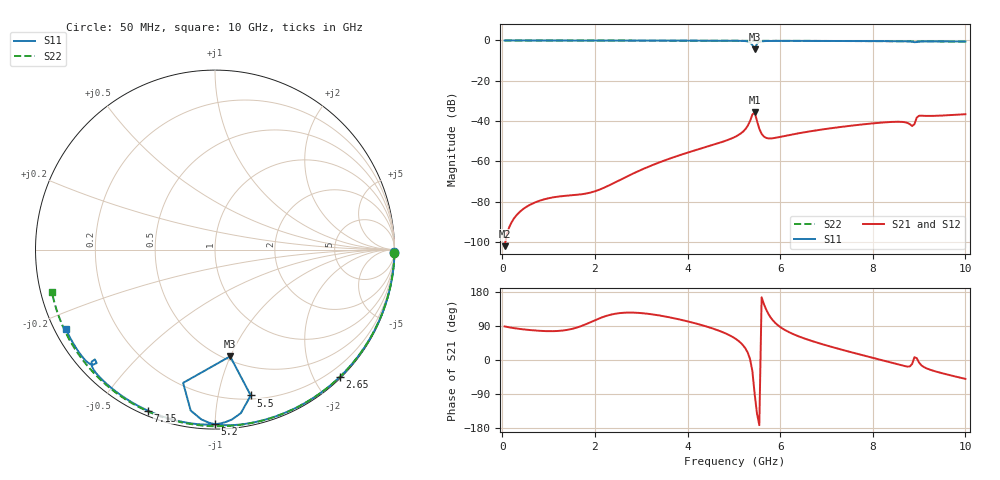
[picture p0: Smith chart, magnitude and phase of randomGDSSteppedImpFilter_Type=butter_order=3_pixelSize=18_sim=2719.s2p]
! freq	dB(S11)	phase(S11)	dB(S12)	phase(S12)
!  dB(S21)	phase(S21)	dB(S22)	phase(S22)
!S-par simulation data
#  GHz  S  DB  R 50
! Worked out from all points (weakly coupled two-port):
!   200 points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, 50 MHz to 10 GHz, reference 50 ohm
!   highest |S21| = -35.71 dB at 5.45 GHz (marker M1); lowest = -102.2 dB at 50 MHz (marker M2)
!   lowest |S11| = -4.4 dB at 5.45 GHz (marker M3), VSWR 4.01, Z = 26.8 - j49.9 ohm
!   |S11| at or under -10 dB: nowhere
!   |S22| runs from -0.5 to 0.0 dB; largest |S21 - S12| = 0
!   S11 on the Smith chart (normalised r, x): 50 MHz: open; 2.65 GHz: 0.02, -2.38; 5.2 GHz: 0.03, -1.00; 5.5 GHz: 0.23, -1.25; 7.15 GHz: 0.02, -0.67; 10 GHz: 0.03, -0.25
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0.05  -0.00 -0.9  -102.16 88.6  -102.16 88.6  -0.00 -1.0
0.75  -0.01 -13.2  -80.04 77.5  -80.04 77.5  -0.02 -14.4
1.75  -0.04 -30.5  -76.26 91.7  -76.26 91.7  -0.04 -33.1
2.1  -0.05 -36.4  -74.07 110.0  -74.07 110.0  -0.05 -39.6
2.65  -0.06 -45.6  -68.02 124.9  -68.02 124.9  -0.06 -49.5
3.4  -0.08 -58.0  -60.48 117.4  -60.48 117.4  -0.08 -62.7
5.05  -0.17 -86.0  -47.59 55.0  -47.59 55.0  -0.14 -90.2
5.2  -0.24 -90.1  -45.24 38.7  -45.24 38.7  -0.14 -92.6
5.35  -0.85 -98.6  -40.04 2.5  -40.04 2.5  -0.15 -95.0
5.4  -2.34 -103.5  -36.79 -29.2  -36.79 -29.2  -0.16 -95.8
5.45  -4.43 -81.9  -35.71 -90.1  -35.71 -90.1  -0.16 -96.6
5.5  -1.55 -76.2  -39.96 -141.7  -39.96 -141.7  -0.16 -97.3
5.6  -0.44 -84.2  -46.38 165.5  -46.38 165.5  -0.17 -98.9
5.75  -0.25 -89.6  -48.65 120.7  -48.65 120.7  -0.17 -101.3
6.7  -0.22 -106.0  -44.93 49.6  -44.93 49.6  -0.23 -115.8
7.15  -0.25 -112.6  -43.43 33.3  -43.43 33.3  -0.26 -122.6
8.35  -0.35 -129.7  -40.53 -5.2  -40.53 -5.2  -0.36 -140.5
8.7  -0.43 -135.1  -40.64 -16.2  -40.64 -16.2  -0.39 -145.7
8.85  -0.64 -137.7  -42.50 -10.5  -42.50 -10.5  -0.41 -147.9
8.95  -0.79 -136.2  -38.28 4.6  -38.28 4.6  -0.42 -149.5
9  -0.58 -136.7  -37.40 -7.0  -37.40 -7.0  -0.43 -150.2
10  -0.52 -152.2  -36.63 -49.9  -36.63 -49.9  -0.55 -165.4
